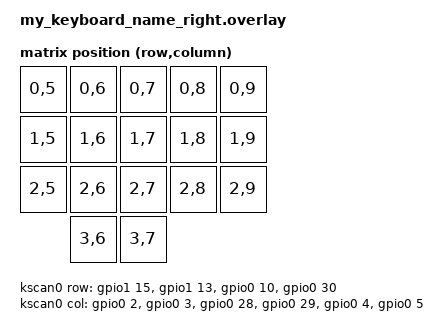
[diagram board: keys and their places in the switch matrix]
// my_keyboard_name_right.overlay

#include <zephyr/dt-bindings/zmk/matrix_transform.h>

/ {
    chosen {
        zmk,kscan = &kscan0;
        zmk,matrix_transform = &default_transform;
        zmk,split = &split;
    };

    kscan0: kscan {
        compatible = "zmk,kscan-gpio-matrix";
        diode-direction = "col2row";

        // こちらもご自身の配線に合わせて変更してください (左手側と同じ配線でOK)
        // XIAOピン: D0, D1, D2, D3
        col-gpios
            = <&gpio0 2>
            , <&gpio0 3>
            , <&gpio0 28>
            , <&gpio0 29>
            , <&gpio0 4>   // D8
            , <&gpio0 5>   // D9
            ;

        // XIAOピン: D6, D7, D10, A3
        row-gpios
            = <&gpio1 15>
            , <&gpio1 13>
            , <&gpio0 10>
            , <&gpio0 30>
            ;
    };

    default_transform: keymap_transform_0 {
        compatible = "zmk,matrix-transform";
        columns = <6>;
        rows = <4>;
        // 右手側のキーマップ（5列ずらしてマッピング）
        map = <
        RC(0,5) RC(0,6) RC(0,7) RC(0,8) RC(0,9)
        RC(1,5) RC(1,6) RC(1,7) RC(1,8) RC(1,9)
        RC(2,5) RC(2,6) RC(2,7) RC(2,8) RC(2,9)
                RC(3,6) RC(3,7)
        >;
    };

    split: split {
        compatible = "zmk,split-i2c";
        // 右手側はペリフェラル（USBに接続しない側）になる
        role = "peripheral";
    };

    // I2C設定 (D4, D5ピンを使用)
    &i2c0 {
        status = "okay";
        sda-pin = <&gpio0 6>;  // D4
        scl-pin = <&gpio0 7>;  // D5
    };
};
